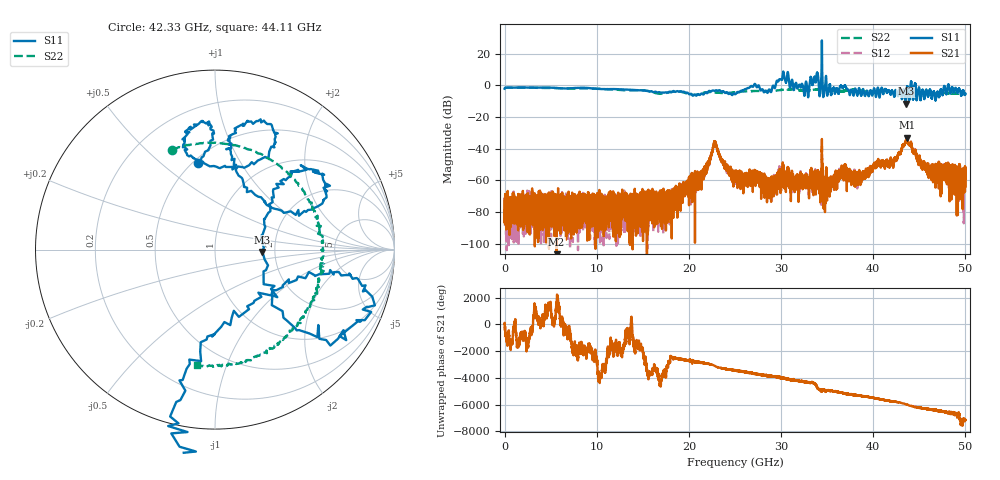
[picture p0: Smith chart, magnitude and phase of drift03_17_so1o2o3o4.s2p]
!Created with skrf (http://scikit-rf.org).
# Hz S RI R 50.0
!freq ReS11 ImS11 ReS21 ImS21 ReS12 ImS12 ReS22 ImS22
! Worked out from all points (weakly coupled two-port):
!   10000 points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, 5.3 MHz to 50 GHz, reference 50 ohm
!   highest |S21| = -33.10 dB at 43.64 GHz (marker M1); lowest = -110.2 dB at 5.645 GHz (marker M2)
!   lowest |S11| = -11.6 dB at 43.53 GHz (marker M3), VSWR 1.71, Z = 85.5 - j2.34 ohm
!   |S11| at or under -10 dB: 43.49206 GHz to 43.55784 GHz (65.78 MHz wide, 0.151 % of centre)
!   |S22| runs from -5.9 to -1.3 dB; largest |S21 - S12| = 0.0096
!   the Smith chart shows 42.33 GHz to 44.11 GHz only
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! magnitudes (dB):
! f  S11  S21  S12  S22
! 5.3 MHz  -2.1  -79.1  -80.1  -2.1
! 5.645 GHz  -1.6  -110.2  -92.0  -1.7
! 8.34 GHz  -1.5  -78.5  -70.6  -1.9
! 16.67 GHz  -4.4  -74.2  -75.7  -5.2
! 21.15 GHz  -6.0  -58.4  -59.1  -5.3
! 22.81 GHz  -3.4  -35.3  -35.7  -4.5
! 23.74 GHz  -3.7  -48.3  -48.3  -4.9
! 25.01 GHz  -5.5  -56.0  -58.6  -4.2
! 27.01 GHz  -0.4  -58.0  -56.8  -3.6
! 28.93 GHz  -4.2  -73.6  -64.5  -3.5
! 30.14 GHz  4.4  -54.0  -56.5  -2.8
! 32.74 GHz  2.0  -55.9  -58.0  -3.3
! 33.34 GHz  2.5  -54.9  -58.3  -2.9
! 33.82 GHz  3.9  -55.8  -59.7  -2.5
! 34.86 GHz  4.6  -59.5  -60.1  -2.3
! 36.5 GHz  -0.4  -54.5  -57.0  -3.8
! 38.37 GHz  -4.5  -55.2  -59.0  -3.0
! 41.67 GHz  -3.1  -49.0  -50.6  -3.7
! 43.53 GHz  -11.6  -35.2  -35.6  -4.1
! 43.64 GHz  -2.3  -33.1  -33.7  -4.1
! 45.99 GHz  -6.1  -55.6  -54.2  -5.4
! 50 GHz  -5.3  -56.0  -60.6  -4.9
